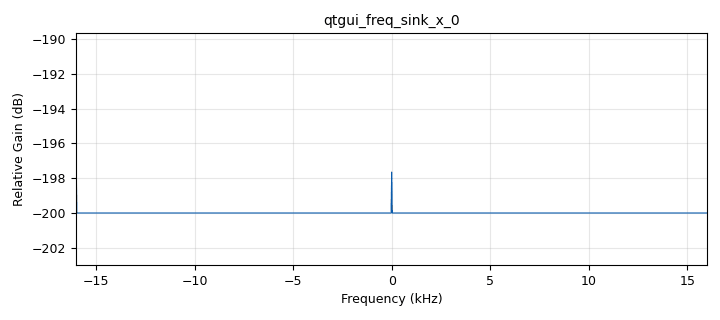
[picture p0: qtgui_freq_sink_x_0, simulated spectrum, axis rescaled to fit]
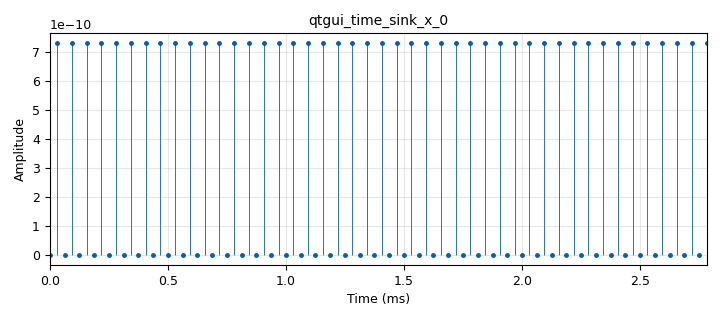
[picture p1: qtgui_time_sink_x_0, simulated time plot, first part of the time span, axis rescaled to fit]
options:
  parameters:
    author: GEOVANI_ARENAS_ANDRES_CUEVAS_J1C
    generate_options: qt_gui
    id: LAB2_2170811
    output_language: python
    title: LAB2_2170811
  states: {}

blocks:
- name: freq
  id: variable_qtgui_range
  parameters:
    label: frecuency
    start: '1000'
    step: '1000'
    stop: '40000'
    value: '16000'
  states: {}
- name: samp_rate
  id: variable_qtgui_range
  parameters:
    label: sample rate
    start: '1000'
    step: '1000'
    stop: '100000'
    value: '32000'
  states: {}
- name: samp_rate
  id: variable
  parameters:
    value: '30000'
  states: {state: disabled}
- name: analog_sig_source_x_0
  id: analog_sig_source_x
  parameters:
    amp: '1'
    freq: freq
    offset: '0'
    phase: '0'
    samp_rate: samp_rate
    type: float
    waveform: analog.GR_SIN_WAVE
  states: {}
- name: blocks_throttle_0
  id: blocks_throttle
  parameters:
    samples_per_second: samp_rate
    type: float
  states: {}
- name: qtgui_freq_sink_x_0
  id: qtgui_freq_sink_x
  parameters:
    bw: samp_rate
    fc: '0'
    fftsize: '1024'
    type: float
  states: {}
- name: qtgui_time_sink_x_0
  id: qtgui_time_sink_x
  parameters:
    size: '1024'
    srate: samp_rate
    stemplot: 'True'
    type: float
  states: {}

connections:
- [analog_sig_source_x_0, '0', blocks_throttle_0, '0']
- [blocks_throttle_0, '0', qtgui_freq_sink_x_0, '0']
- [blocks_throttle_0, '0', qtgui_time_sink_x_0, '0']

metadata:
  file_format: 1
